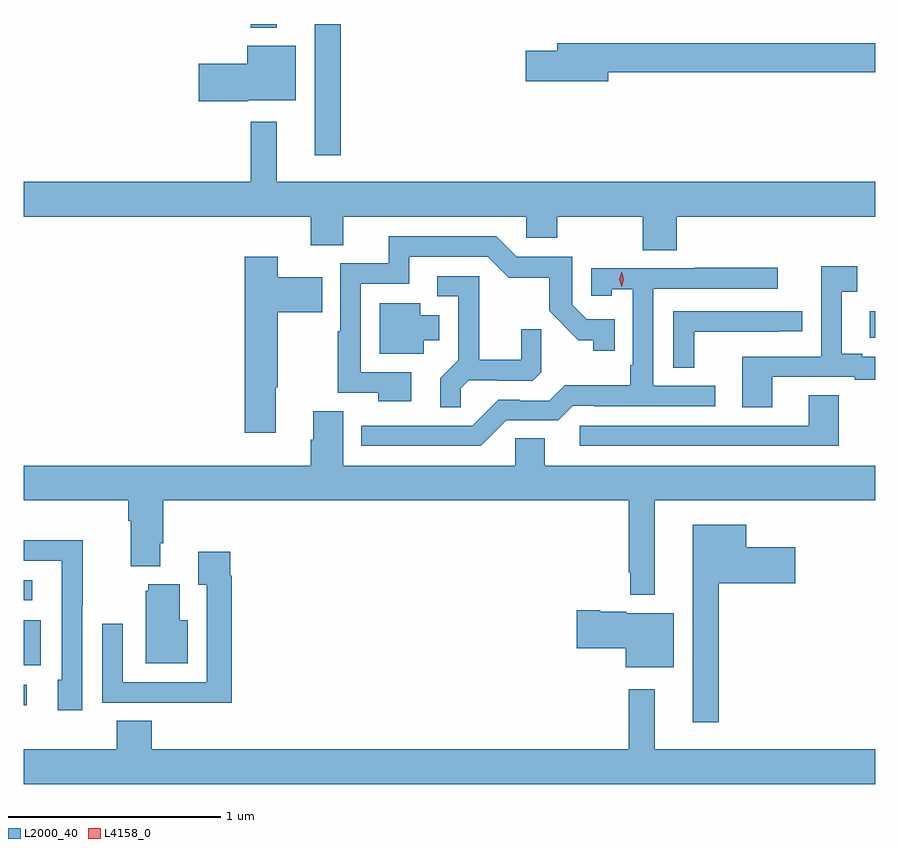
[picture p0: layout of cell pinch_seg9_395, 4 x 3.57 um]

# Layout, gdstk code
import gdstk
lib = gdstk.Library(unit=1e-6, precision=1e-09)
def R(c, l, rs):  # rectangles x0, y0, x1, y1
    for r in rs: c.add(gdstk.rectangle(r[:2], r[2:], *l))
def P(c, l, *ps):  # polygons
    for p in ps: c.add(gdstk.Polygon(p, *l))
L2000_40 = (2000, 40)
L4158_0 = (4158, 0)

pinch_seg9_395 = lib.new_cell('pinch_seg9_395')
R(pinch_seg9_395, L2000_40, [(374.101,1238.081,374.116,1238.178), (374.101,1238.27,374.182,1238.482), (374.101,1238.574,374.14,1238.67), (378.075,1239.809,378.101,1239.933), (375.467,1240.665,375.589,1241.282), (375.168,1241.264,375.289,1241.282)])
P(pinch_seg9_395, L2000_40, [(376.846,1241.056),(378.101,1241.056),(378.101,1241.192),(376.607,1241.192),(376.607,1241.156),(376.458,1241.156),(376.458,1241.014),(376.846,1241.014)],
  [(375.156,1240.925),(375.379,1240.925),(375.379,1241.179),(375.152,1241.179),(375.152,1241.096),(374.922,1241.096),(374.922,1240.918),(375.156,1240.918)],
  [(377.168,1240.376),(378.101,1240.376),(378.101,1240.54),(375.289,1240.54),(375.289,1240.822),(375.168,1240.822),(375.168,1240.54),(374.101,1240.54),(374.101,1240.376),(375.449,1240.376),(375.449,1240.243),(375.601,1240.243),(375.601,1240.376),(376.461,1240.376),(376.461,1240.278),(376.608,1240.278),(376.608,1240.376),(377.008,1240.376),(377.008,1240.219),(377.168,1240.219)],
  [(375.922,1239.645),(375.684,1239.645),(375.684,1240.062),(375.913,1240.062),(375.913,1240.188),(376.281,1240.188),(376.38,1240.09),(376.569,1240.09),(376.569,1239.934),(376.706,1239.797),(376.776,1239.797),(376.776,1239.747),(376.877,1239.747),(376.877,1239.894),(376.746,1239.894),(376.677,1239.963),(376.677,1240.188),(376.416,1240.188),(376.32,1240.284),(375.815,1240.284),(375.815,1240.158),(375.588,1240.158),(375.588,1239.839),(375.576,1239.839),(375.576,1239.549),(375.766,1239.549),(375.766,1239.509),(375.922,1239.509)],
  [(375.286,1239.575),(375.294,1239.575),(375.294,1239.928),(375.503,1239.928),(375.503,1240.093),(375.294,1240.093),(375.294,1240.189),(375.14,1240.189),(375.14,1239.363),(375.286,1239.363)],
  [(377.617,1239.624),(378.005,1239.624),(378.005,1239.612),(378.101,1239.612),(378.101,1239.72),(378.04,1239.72),(378.04,1239.733),(377.944,1239.733),(377.944,1240.024),(378.016,1240.024),(378.016,1240.144),(377.847,1240.144),(377.847,1239.72),(377.477,1239.72),(377.477,1239.481),(377.617,1239.481)],
  [(376.368,1239.42),(376.611,1239.42),(376.68,1239.489),(376.78,1239.489),(376.78,1239.486),(377.35,1239.486),(377.35,1239.582),(377.058,1239.582),(377.058,1240.038),(377.644,1240.038),(377.644,1240.137),(377.251,1240.137),(377.251,1240.134),(376.767,1240.134),(376.767,1240.005),(376.863,1240.005),(376.863,1240.037),(376.962,1240.037),(376.962,1239.679),(376.95,1239.679),(376.95,1239.586),(376.642,1239.586),(376.569,1239.513),(376.43,1239.513),(376.43,1239.516),(376.329,1239.516),(376.209,1239.396),(375.686,1239.396),(375.686,1239.3),(376.248,1239.3)],
  [(376.155,1239.572),(376.192,1239.609),(376.326,1239.609),(376.326,1239.606),(376.491,1239.606),(376.532,1239.647),(376.532,1239.849),(376.438,1239.849),(376.438,1239.706),(376.241,1239.706),(376.241,1240.098),(376.044,1240.098),(376.044,1240.002),(376.143,1240.002),(376.143,1239.703),(376.057,1239.617),(376.057,1239.481),(376.155,1239.481)],
  [(375.979,1239.797),(376.054,1239.797),(376.054,1239.913),(375.964,1239.913),(375.964,1239.97),(375.773,1239.97),(375.773,1239.734),(375.979,1239.734)],
  [(377.25,1239.837),(377.645,1239.837),(377.645,1239.838),(377.758,1239.838),(377.758,1239.933),(377.151,1239.933),(377.151,1239.667),(377.25,1239.667)],
  [(377.929,1239.539),(377.789,1239.539),(377.789,1239.396),(376.713,1239.396),(376.713,1239.3),(377.929,1239.3)],
  [(377.065,1239.044),(378.101,1239.044),(378.101,1239.208),(376.549,1239.208),(376.549,1239.335),(376.41,1239.335),(376.41,1239.208),(375.601,1239.208),(375.601,1239.464),(375.461,1239.464),(375.461,1239.33),(375.449,1239.33),(375.449,1239.208),(374.101,1239.208),(374.101,1239.044),(374.591,1239.044),(374.591,1238.948),(374.603,1238.948),(374.603,1238.735),(374.743,1238.735),(374.743,1238.842),(374.756,1238.842),(374.756,1239.044),(376.944,1239.044),(376.944,1238.707),(376.951,1238.707),(376.951,1238.6),(377.065,1238.6)],
  [(377.365,1238.654),(377.725,1238.654),(377.725,1238.824),(377.494,1238.824),(377.494,1238.929),(377.243,1238.929),(377.243,1238.001),(377.365,1238.001)],
  [(374.376,1238.551),(374.379,1238.551),(374.379,1238.858),(374.101,1238.858),(374.101,1238.76),(374.279,1238.76),(374.279,1238.506),(374.28,1238.506),(374.28,1238.202),(374.261,1238.202),(374.261,1238.058),(374.376,1238.058)],
  [(375.077,1238.69),(375.07,1238.69),(375.07,1238.803),(374.921,1238.803),(374.921,1238.647),(374.961,1238.647),(374.961,1238.19),(374.565,1238.19),(374.565,1238.464),(374.469,1238.464),(374.469,1238.094),(374.785,1238.094),(374.785,1238.093),(375.077,1238.093)],
  [(374.872,1238.482),(374.833,1238.482),(374.833,1238.65),(374.687,1238.65),(374.687,1238.619),(374.675,1238.619),(374.675,1238.279),(374.872,1238.279)],
  [(377.155,1238.515),(376.932,1238.515),(376.932,1238.521),(376.81,1238.521),(376.81,1238.528),(376.698,1238.528),(376.698,1238.35),(376.928,1238.35),(376.928,1238.261),(377.155,1238.261)],
  [(378.101,1237.876),(377.065,1237.876),(377.065,1238.158),(376.944,1238.158),(376.944,1237.876),(374.702,1237.876),(374.702,1238.009),(374.537,1238.009),(374.537,1237.876),(374.101,1237.876),(374.101,1237.712),(378.101,1237.712)])
P(pinch_seg9_395, L4158_0, [(376.909,1240.047),(376.909,1240.047),(376.899,1240.083),(376.909,1240.119),(376.909,1240.119),(376.909,1240.119),(376.919,1240.083),(376.909,1240.047)])

lib.write_gds('pinch_seg9_395.gds')
